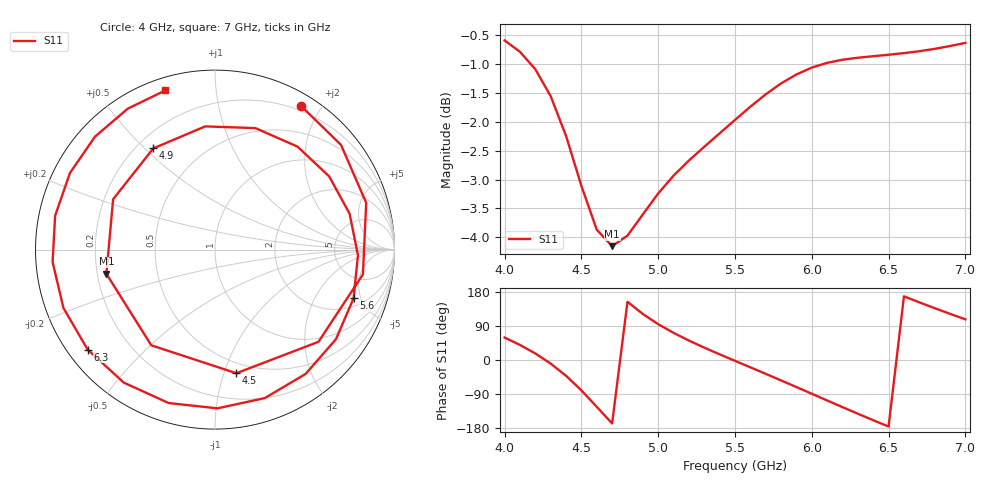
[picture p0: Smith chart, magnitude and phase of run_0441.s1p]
! Touchstone file exported from HFSS 2024.2.0
!  File:  C:/Users/wsak9/Desktop/Sim Fast/Widenad Patch/WP_AI_V1_sweep.aedt
!  Generated:  10:08:21 AM Oct 14, 2026
!  Design:  A1_model
!  Project:  WP_AI_V1_sweep
!  Setup:  Setup1
!  Solution:  Sweep
! Variables:
!  Air_gap = 3.7mm
!  Curve_Amp1 = 0.6
!  Curve_len1 = 1
!  Curve_pos = 12.345mm
!  Extra = 2.36mm
!  H_sub = 0.79mm
!  L_Patch = 20.69mm
!  L_Patch1 = 16.03mm
!  Sx = 3.8mm
!  Sy = 3.93mm
!  WS = 0.93mm
!  W_Patch = 10.78mm
!  W_Patch1 = 13.67mm
!Data is not renormalized
# GHz S MA
! Terminal data exported
! Port[1] = 1
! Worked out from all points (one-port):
!   31 points, 4 GHz to 7 GHz, reference per port
!   lowest |S11| = -4.2 dB at 4.7 GHz (marker M1), VSWR 4.26
!   |S11| at or under -10 dB: nowhere
!   S11 on the Smith chart (normalised r, x): 4 GHz: 0.14, +1.75; 4.5 GHz: 0.41, -1.10; 4.9 GHz: 0.27, +0.53; 5.6 GHz: 2.63, -4.32; 6.3 GHz: 0.06, -0.35; 7 GHz: 0.06, +0.73
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4  0.9337 59.2
4.1  0.9128 39.7
4.2  0.8817 17.2
4.3  0.8357 -9.5
4.4  0.7722 -41.7
4.5  0.699 -80.2
4.6  0.6406 -123.7
4.7  0.62 -167.4
4.8  0.6332 153.7
4.9  0.6604 121.4
5  0.6886 94.5
5.1  0.7134 71.6
5.2  0.7352 51.3
5.4  0.7761 14.9
5.5  0.7971 -2.3
5.6  0.8183 -19.4
5.7  0.8388 -36.5
5.9  0.8726 -71.5
6  0.8845 -89.1
6.1  0.893 -106.8
6.2  0.8985 -124.4
6.3  0.9021 -141.8
6.4  0.9049 -158.9
6.5  0.9075 -175.6
6.6  0.9104 168.0
6.7  0.9139 152.2
6.9  0.9233 121.8
7  0.9292 107.3
